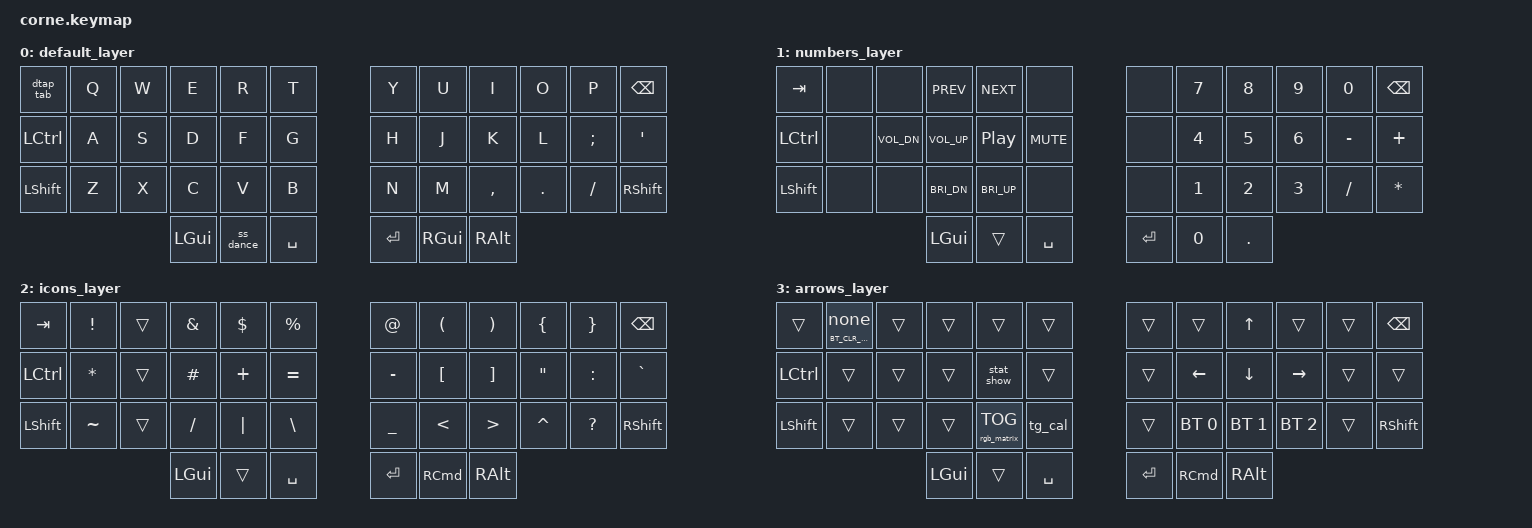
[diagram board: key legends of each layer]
#include <behaviors.dtsi>
#include <dt-bindings/zmk/bt.h>
#include <dt-bindings/zmk/keys.h>
#include <dt-bindings/zmk/rgb.h>
#include "leds.dtsi"

/ {
    behaviors {
        /*
        * 1. DTAP_TAB: Al pulsar una vez envía TAB, al pulsar dos veces rápidamente envía ESC.
        */

        dtap_tab: dtap_tab {
            compatible = "zmk,behavior-tap-dance";
            #binding-cells = <0>;
            tapping-term-ms = <200>;
            bindings = <&kp TAB>, <&kp ESC>, <&kp ESC>;
        };

        /*
        * 2. SS_DANCE (pulgar izquierdo vacío): 1 toque no hace nada,
        *    2 toques = captura de pantalla completa (Cmd+Ctrl+Shift+3),
        *    3 toques = captura de un área (Cmd+Ctrl+Shift+4). Ambas van al portapapeles.
        */

        ss_dance: ss_dance {
            compatible = "zmk,behavior-tap-dance";
            #binding-cells = <0>;
            tapping-term-ms = <250>;
            bindings = <&none>, <&kp LG(LC(LS(N3)))>, <&kp LG(LC(LS(N4)))>;
        };

        /*
        * 3. BT_CLEAR: borra el perfil Bluetooth actual SOLO si se sostiene 1 segundo.
        *    Un toque accidental no hace nada. Uso: &bt_clear BT_CLR_CMD 0
        */

        bt_clear: bt_clear {
            compatible = "zmk,behavior-hold-tap";
            #binding-cells = <2>;
            flavor = "tap-preferred";
            tapping-term-ms = <1000>;
            bindings = <&bt>, <&none>;
        };
    };

    combos {
        compatible = "zmk,combos";

        layer_a {
            bindings = <&lt 1 LC(A)>;
            key-positions = <13 37>;
            timeout-ms = <500>;
            layers = <0>;
        };

        layer_s {
            bindings = <&lt 2 LC(S)>;
            key-positions = <14 37>;
            layers = <0>;
            timeout-ms = <300>;
        };

        layer_d {
            bindings = <&lt 3 LC(D)>;
            key-positions = <15 37>;
            layers = <0>;
            timeout-ms = <200>;
        };

        screenshot {
            bindings = <&kp LG(LC(LS(N4)))>;
            key-positions = <37 4>;
            slow-release;
            layers = <0>;
            timeout-ms = <500>;
        };
    };

    keymap {
        compatible = "zmk,keymap";

        default_layer {
            // -----------------------------------------------------------------------------------------
            // |tab/esc|  Q  |  W  |  E  |  R  |  T  |   |  Y  |  U   |  I  |  O  |  P  | BSPC |
            // | CTRL  |  A  |  S  |  D  |  F  |  G  |   |  H  |  J   |  K  |  L  |  ;  |  '   |
            // | SHFT  |  Z  |  X  |  C  |  V  |  B  |   |  N  |  M   |  ,  |  .  |  /  | SHFT |
            //                     | GUI | 📸  | SPC |   | ENT | GUI  | ALT |

            bindings = <
&dtap_tab  &kp Q  &kp W  &kp E     &kp R      &kp T        &kp Y    &kp U     &kp I      &kp O    &kp P     &kp BSPC
&kp LCTRL  &kp A  &kp S  &kp D     &kp F      &kp G        &kp H    &kp J     &kp K      &kp L    &kp SEMI  &kp SQT
&kp LSHFT  &kp Z  &kp X  &kp C     &kp V      &kp B        &kp N    &kp M     &kp COMMA  &kp DOT  &kp FSLH  &kp RIGHT_SHIFT
                         &kp LGUI  &ss_dance  &kp SPACE    &kp RET  &kp RGUI  &kp RALT
            >;
        };

        numbers_layer {
            // -----------------------------------------------------------------------------------------
            // |  TAB |     |     | ⏮  | ⏭  |     |   |     |  7  |  8  |  9  |  0  | BSPC |
            // | CTRL |     | 🔉  | 🔊  | ⏯  | 🔇  |   |     |  4  |  5  |  6  |  -  |  +   |
            // | SHFT |     |     | 🔅  | 🔆  |     |   |     |  1  |  2  |  3  |  /  |  *   |
            //                    | GUI |     | SPC |   | ENT |  0  |  .  |
            // Multimedia en los dedos libres mientras el meñique sostiene A: anular, medio e índice.

            bindings = <
&kp TAB           &none  &none        &kp C_PREV    &kp C_NEXT    &none          &none    &kp N7  &kp N8   &kp N9  &kp N0     &kp BSPC
&kp LEFT_CONTROL  &none  &kp C_VOL_DN &kp C_VOL_UP  &kp C_PP      &kp C_MUTE     &none    &kp N4  &kp N5   &kp N6  &kp MINUS  &kp PLUS
&kp LSHFT         &none  &none        &kp C_BRI_DN  &kp C_BRI_UP  &none          &none    &kp N1  &kp N2   &kp N3  &kp FSLH   &kp ASTRK
                                      &kp LGUI      &trans        &kp SPACE      &kp RET  &kp N0  &kp DOT
            >;
        };

        icons_layer {
            // -----------------------------------------------------------------------------------------
            // |  TAB |  !  |     |  &  |  $  |  %  |   |  @  |  (  |  )  |  {  |  }  | BSPC |
            // | CTRL |  *  |     |  #  |  +  |  =  |   |  -  |  [  |  ]  |  "  |  :  |  `   |
            // | SHFT |  ~  |     |  /  |  |  |  \  |   |  _  |  <  |  >  |  ^  |  ?  | SHFT |
            //                    | GUI |     | SPC |   | ENT | GUI | ALT |

            bindings = <
&kp TAB           &kp EXCL      &trans  &kp AMPERSAND  &kp DLLR  &kp PRCNT        &kp AT     &kp LEFT_PARENTHESIS  &kp RIGHT_PARENTHESIS  &kp LEFT_BRACE  &kp RIGHT_BRACE  &kp BSPC
&kp LEFT_CONTROL  &kp ASTERISK  &trans  &kp HASH       &kp PLUS  &kp EQUAL        &kp MINUS  &kp LEFT_BRACKET      &kp RIGHT_BRACKET      &kp DQT         &kp COLON        &kp GRAVE
&kp LEFT_SHIFT    &kp TILDE     &trans  &kp SLASH      &kp PIPE  &kp BACKSLASH    &kp UNDER  &kp LESS_THAN         &kp GREATER_THAN       &kp CARET       &kp QUESTION     &kp RIGHT_SHIFT
                                        &kp LGUI       &trans    &kp SPACE        &kp RET    &kp RIGHT_COMMAND     &kp RALT
            >;
        };

        arrows_layer: arrows_layer {
            // -----------------------------------------------------------------------------------------
            // |      |CLR* |     |     |     |     |   |     |     | UP  |     |     | BSPC |
            // | CTRL |     |     |     | ⓘ  |     |   |     |LEFT |DOWN |RIGHT|     |      |
            // | SHFT |     |     |     | 💡  | CAL |   |     | BT1 | BT2 | BT3 |     | SHFT |
            //                    | GUI |     | SPC |   | ENT | GUI | ALT |
            // CLR* = borra el perfil Bluetooth actual, solo sosteniendo 1 segundo.
            // BT1-3 están donde 1 2 3 en la capa numbers.
            // ⓘ = resumen 4 s (batería + Bluetooth). 💡 = apaga/enciende todas las luces.
            // CAL = calibración de LEDs (un punto recorre la cadena; tócala otra vez para parar).

            bindings = <
&trans            &bt_clear BT_CLR_CMD 0  &trans  &trans    &trans               &trans       &trans   &trans             &kp UP          &trans          &trans  &kp BACKSPACE
&kp LEFT_CONTROL  &trans                  &trans  &trans    &stat_show           &trans       &trans   &kp LEFT           &kp DOWN        &kp RIGHT       &trans  &trans
&kp LEFT_SHIFT    &trans                  &trans  &trans    &rgb_matrix RGB_TOG  &tg_cal      &trans   &bt BT_SEL 0       &bt BT_SEL 1    &bt BT_SEL 2    &trans  &kp RIGHT_SHIFT
                                                  &kp LGUI  &trans               &kp SPACE    &kp RET  &kp RIGHT_COMMAND  &kp RALT
            >;
        };
    };
};
